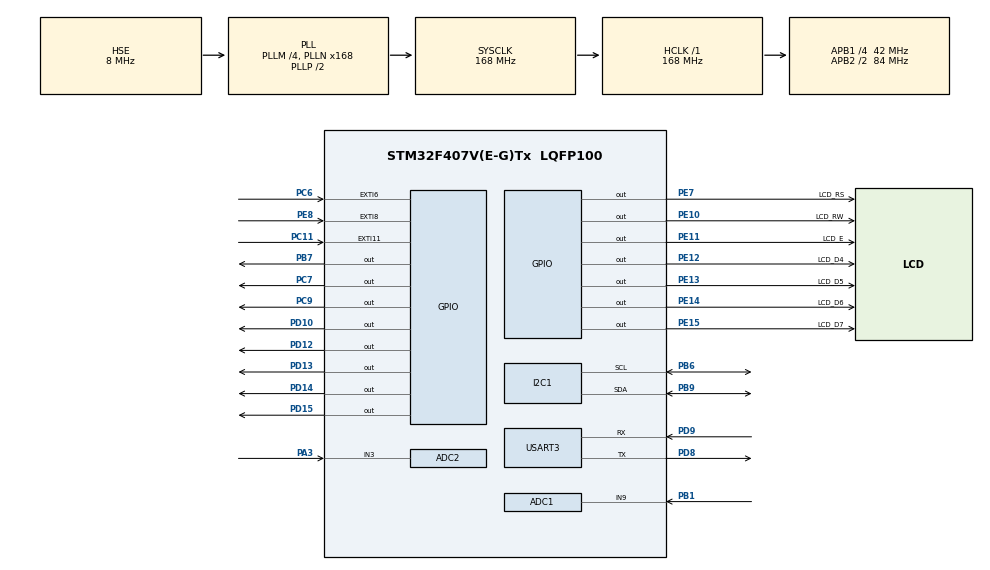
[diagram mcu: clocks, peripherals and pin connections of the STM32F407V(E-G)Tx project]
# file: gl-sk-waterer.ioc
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ADC1.Channel-0\#ChannelRegularConversion=ADC_CHANNEL_9
ADC1.ClockPrescaler=ADC_CLOCK_SYNC_PCLK_DIV8
ADC1.NbrOfConversionFlag=1
ADC1.Rank-0\#ChannelRegularConversion=1
ADC1.SamplingTime-0\#ChannelRegularConversion=ADC_SAMPLETIME_480CYCLES
ADC1.ScanConvMode=DISABLE
ADC1.master=1
ADC2.Channel-1\#ChannelRegularConversion=ADC_CHANNEL_3
ADC2.ClockPrescaler=ADC_CLOCK_SYNC_PCLK_DIV8
ADC2.NbrOfConversionFlag=1
ADC2.Rank-1\#ChannelRegularConversion=1
ADC2.SamplingTime-1\#ChannelRegularConversion=ADC_SAMPLETIME_480CYCLES
Dma.Request0=USART3_RX
Dma.Request1=USART3_TX
Dma.USART3_RX.0.Direction=DMA_PERIPH_TO_MEMORY
Dma.USART3_RX.0.FIFOMode=DMA_FIFOMODE_DISABLE
Dma.USART3_RX.0.Instance=DMA1_Stream1
Dma.USART3_RX.0.MemDataAlignment=DMA_MDATAALIGN_BYTE
Dma.USART3_RX.0.MemInc=DMA_MINC_ENABLE
Dma.USART3_RX.0.Mode=DMA_CIRCULAR
Dma.USART3_RX.0.PeriphDataAlignment=DMA_PDATAALIGN_BYTE
Dma.USART3_RX.0.PeriphInc=DMA_PINC_DISABLE
Dma.USART3_RX.0.Priority=DMA_PRIORITY_LOW
Dma.USART3_TX.1.Direction=DMA_MEMORY_TO_PERIPH
Dma.USART3_TX.1.FIFOMode=DMA_FIFOMODE_DISABLE
Dma.USART3_TX.1.Instance=DMA1_Stream3
Dma.USART3_TX.1.MemDataAlignment=DMA_MDATAALIGN_BYTE
Dma.USART3_TX.1.MemInc=DMA_MINC_ENABLE
Dma.USART3_TX.1.Mode=DMA_NORMAL
Dma.USART3_TX.1.PeriphDataAlignment=DMA_PDATAALIGN_BYTE
Dma.USART3_TX.1.PeriphInc=DMA_PINC_DISABLE
Dma.USART3_TX.1.Priority=DMA_PRIORITY_LOW
FREERTOS.BinarySemaphores01=mBinSemDozeWater,Static,mBinSemDozeWaterControlBlock
FREERTOS.Queues01=myQueueCmds,128,uint8_t,0,Dynamic,NULL,NULL;myQueueDozeWater,1,int8_t,0,Dynamic,NULL,NULL;myQueueMsg,16,uint32_t,0,Dynamic,NULL,NULL
FREERTOS.Tasks01=defaultTask,0,228,StartDefaultTask,Default,NULL,Dynamic,NULL,NULL;myTaskLeds,0,128,StartTaskLeds,Default,NULL,Dynamic,NULL,NULL;myTaskCmds,0,128,StartTaskCmds,Default,NULL,Dynamic,NULL,NULL;myTaskUart,0,1128,StartTaskUart,Default,NULL,Dynamic,NULL,NULL;myTaskAdc,0,128,StartTaskAdc,Default,NULL,Dynamic,NULL,NULL
FREERTOS.Timers01=myTimerPump,CallbackPump,osTimerOnce,Default,NULL,Dynamic,NULL
FREERTOS.configTOTAL_HEAP_SIZE=91536
FREERTOS.configUSE_TIMERS=1
Mcu.Family=STM32F4
Mcu.Name=STM32F407V(E-G)Tx
Mcu.Package=LQFP100
NVIC.DMA1_Stream1_IRQn=true\:5\:0\:false\:false\:true\:true\:false\:true
NVIC.DMA1_Stream3_IRQn=true\:5\:0\:false\:false\:true\:true\:false\:true
NVIC.EXTI15_10_IRQn=true\:5\:0\:false\:false\:true\:true\:true\:true
NVIC.EXTI9_5_IRQn=true\:5\:0\:false\:false\:true\:true\:true\:true
NVIC.PriorityGroup=NVIC_PRIORITYGROUP_4
NVIC.TIM6_DAC_IRQn=true\:0\:0\:false\:false\:true\:false\:false\:true
NVIC.TimeBase=TIM6_DAC_IRQn
NVIC.TimeBaseIP=TIM6
NVIC.USART3_IRQn=true\:5\:0\:false\:false\:true\:true\:true\:true
PA13.Mode=Serial_Wire
PA13.Signal=SYS_JTMS-SWDIO
PA14.Mode=Serial_Wire
PA14.Signal=SYS_JTCK-SWCLK
PA3.Signal=ADCx_IN3
PB1.Signal=ADCx_IN9
PB6.Mode=I2C
PB6.Signal=I2C1_SCL
PB7.Signal=GPIO_Output
PB9.Mode=I2C
PB9.Signal=I2C1_SDA
PC11.GPIO_ModeDefaultEXTI=GPIO_MODE_IT_RISING_FALLING
PC11.GPIO_PuPd=GPIO_PULLUP
PC11.Signal=GPXTI11
PC6.GPIO_ModeDefaultEXTI=GPIO_MODE_IT_FALLING
PC6.GPIO_PuPd=GPIO_PULLUP
PC6.Signal=GPXTI6
PC7.PinState=GPIO_PIN_SET
PC7.Signal=GPIO_Output
PC9.Signal=GPIO_Output
PD10.PinState=GPIO_PIN_SET
PD10.Signal=GPIO_Output
PD12.Signal=GPIO_Output
PD13.Signal=GPIO_Output
PD14.Signal=GPIO_Output
PD15.Signal=GPIO_Output
PD8.Mode=Asynchronous
PD8.Signal=USART3_TX
PD9.Mode=Asynchronous
PD9.Signal=USART3_RX
PE10.GPIO_Label=LCD_RW
PE10.GPIO_PuPd=GPIO_PULLDOWN
PE10.Signal=GPIO_Output
PE11.GPIO_Label=LCD_E
PE11.Signal=GPIO_Output
PE12.GPIO_Label=LCD_D4
PE12.Signal=GPIO_Output
PE13.GPIO_Label=LCD_D5
PE13.Signal=GPIO_Output
PE14.GPIO_Label=LCD_D6
PE14.Signal=GPIO_Output
PE15.GPIO_Label=LCD_D7
PE15.Signal=GPIO_Output
PE7.GPIO_Label=LCD_RS
PE7.PinState=GPIO_PIN_RESET
PE7.Signal=GPIO_Output
PE8.GPIO_ModeDefaultEXTI=GPIO_MODE_IT_RISING_FALLING
PE8.Signal=GPXTI8
PH0-OSC_IN.Mode=HSE-External-Oscillator
PH0-OSC_IN.Signal=RCC_OSC_IN
PH1-OSC_OUT.Mode=HSE-External-Oscillator
PH1-OSC_OUT.Signal=RCC_OSC_OUT
ProjectManager.HeapSize=0x200
ProjectManager.StackSize=0x400
ProjectManager.TargetToolchain=SW4STM32
RCC.48MHZClocksFreq_Value=48000000
RCC.AHBFreq_Value=168000000
RCC.APB1CLKDivider=RCC_HCLK_DIV4
RCC.APB1Freq_Value=42000000
RCC.APB1TimFreq_Value=84000000
RCC.APB2CLKDivider=RCC_HCLK_DIV2
RCC.APB2Freq_Value=84000000
RCC.APB2TimFreq_Value=168000000
RCC.CortexFreq_Value=168000000
RCC.HCLKFreq_Value=168000000
RCC.HSE_VALUE=8000000
RCC.HSI_VALUE=16000000
RCC.LSE_VALUE=32768
RCC.PLLM=4
RCC.PLLN=168
RCC.PLLQ=7
RCC.PLLSourceVirtual=RCC_PLLSOURCE_HSE
RCC.SYSCLKFreq_VALUE=168000000
RCC.SYSCLKSource=RCC_SYSCLKSOURCE_PLLCLK
RCC.VCOOutputFreq_Value=336000000
SH.ADCx_IN3.0=ADC2_IN3,IN3
SH.ADCx_IN9.0=ADC1_IN9,IN9
USART3.VirtualMode=VM_ASYNC
VP_FREERTOS_VS_CMSIS_V1.Mode=CMSIS_V1
VP_SYS_VS_tim6.Mode=TIM6
board=STM32F4DISCOVERY

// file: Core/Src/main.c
/* USER CODE BEGIN Header */
/**
  ******************************************************************************
  * @file           : main.c
  * @brief          : Main program body
  ******************************************************************************
  * @attention
  *
  * <h2><center>&copy; Copyright (c) 2019 STMicroelectronics.
  * All rights reserved.</center></h2>
  *
  * This software component is licensed by ST under Ultimate Liberty license
  * SLA0044, the "License"; You may not use this file except in compliance with
  * the License. You may obtain a copy of the License at:
  *                             www.st.com/SLA0044
  *
  ******************************************************************************
  */
/* USER CODE END Header */

#include "main.h"
#include "cmsis_os.h"

/* USER CODE BEGIN Includes */
#include <string.h>
#include <stdio.h>
#include "hd44780_driver.h"
#include "pca9685.h"
#include "jsmn.h"
#include "ringbuffer_dma.h"
#include "StatusToShow.h"
/* USER CODE END Includes */

/* USER CODE BEGIN PD */
#define I2C_GPIO_ADDR	0x80
/* USER CODE END PD */

ADC_HandleTypeDef hadc1;
ADC_HandleTypeDef hadc2;

I2C_HandleTypeDef hi2c1;

UART_HandleTypeDef huart3;
DMA_HandleTypeDef hdma_usart3_rx;
DMA_HandleTypeDef hdma_usart3_tx;

osThreadId defaultTaskHandle;
osThreadId myTaskLedsHandle;
osThreadId myTaskCmdsHandle;
osThreadId myTaskUartHandle;
osThreadId myTaskAdcHandle;
osMessageQId myQueueCmdsHandle;
osMessageQId myQueueDozeWaterHandle;
osMessageQId myQueueMsgHandle;
osTimerId myTimerPumpHandle;
osMutexId myMutex01Handle;
osSemaphoreId mBinSemDozeWaterHandle;
osStaticSemaphoreDef_t mBinSemDozeWaterControlBlock;

void SystemClock_Config(void);
static void MX_GPIO_Init(void);
static void MX_DMA_Init(void);
static void MX_ADC1_Init(void);
static void MX_USART3_UART_Init(void);
static void MX_I2C1_Init(void);
static void MX_ADC2_Init(void);
void StartDefaultTask(void const * argument);
void StartTaskLeds(void const * argument);
void StartTaskCmds(void const * argument);
void StartTaskUart(void const * argument);
void StartTaskAdc(void const * argument);
void CallbackPump(void const * argument);

int main(void)
{

  /* MCU Configuration--------------------------------------------------------*/

  /* Reset of all peripherals, Initializes the Flash interface and the Systick. */
  HAL_Init();

  /* Configure the system clock */
  SystemClock_Config();

  /* Initialize all configured peripherals */
  MX_GPIO_Init();
  MX_DMA_Init();
  MX_ADC1_Init();
  MX_USART3_UART_Init();
  MX_I2C1_Init();
  MX_ADC2_Init();
  /* USER CODE BEGIN 2 */
  pca9685_init(&hi2c1, I2C_GPIO_ADDR);
  pca9685_pwm(&hi2c1, I2C_GPIO_ADDR, 1, 0, 0);
  /* USER CODE END 2 */

  /* Create the mutex(es) */
  /* definition and creation of myMutex01 */
  osMutexDef(myMutex01);
  myMutex01Handle = osMutexCreate(osMutex(myMutex01));

  /* USER CODE BEGIN RTOS_MUTEX */
  /* add mutexes, ... */
  InitStatusToShow();
  /* USER CODE END RTOS_MUTEX */

  /* Create the semaphores(s) */
  /* definition and creation of mBinSemDozeWater */
  osSemaphoreStaticDef(mBinSemDozeWater, &mBinSemDozeWaterControlBlock);
  mBinSemDozeWaterHandle = osSemaphoreCreate(osSemaphore(mBinSemDozeWater), 1);

  /* Create the timer(s) */
  /* definition and creation of myTimerPump */
  osTimerDef(myTimerPump, CallbackPump);
  myTimerPumpHandle = osTimerCreate(osTimer(myTimerPump), osTimerOnce, NULL);

  /* Create the queue(s) */
  /* definition and creation of myQueueCmds */
  osMessageQDef(myQueueCmds, 128, uint8_t);
  myQueueCmdsHandle = osMessageCreate(osMessageQ(myQueueCmds), NULL);

  /* definition and creation of myQueueDozeWater */
  osMessageQDef(myQueueDozeWater, 1, int8_t);
  myQueueDozeWaterHandle = osMessageCreate(osMessageQ(myQueueDozeWater), NULL);

  /* definition and creation of myQueueMsg */
  osMessageQDef(myQueueMsg, 16, uint32_t);
  myQueueMsgHandle = osMessageCreate(osMessageQ(myQueueMsg), NULL);

  /* Create the thread(s) */
  /* definition and creation of defaultTask */
  osThreadDef(defaultTask, StartDefaultTask, osPriorityNormal, 0, 228);
  defaultTaskHandle = osThreadCreate(osThread(defaultTask), NULL);

  /* definition and creation of myTaskLeds */
  osThreadDef(myTaskLeds, StartTaskLeds, osPriorityNormal, 0, 128);
  myTaskLedsHandle = osThreadCreate(osThread(myTaskLeds), NULL);

  /* definition and creation of myTaskCmds */
  osThreadDef(myTaskCmds, StartTaskCmds, osPriorityNormal, 0, 128);
  myTaskCmdsHandle = osThreadCreate(osThread(myTaskCmds), NULL);

  /* definition and creation of myTaskUart */
  osThreadDef(myTaskUart, StartTaskUart, osPriorityNormal, 0, 1128);
  myTaskUartHandle = osThreadCreate(osThread(myTaskUart), NULL);

  /* definition and creation of myTaskAdc */
  osThreadDef(myTaskAdc, StartTaskAdc, osPriorityNormal, 0, 128);
  myTaskAdcHandle = osThreadCreate(osThread(myTaskAdc), NULL);

  /* Start scheduler */
  osKernelStart();

  /* We should never get here as control is now taken by the scheduler */

  /* Infinite loop */
  while (1)
  {

  }
}

void SystemClock_Config(void)
{
  RCC_OscInitTypeDef RCC_OscInitStruct = {0};
  RCC_ClkInitTypeDef RCC_ClkInitStruct = {0};

  /** Configure the main internal regulator output voltage
  */
  __HAL_RCC_PWR_CLK_ENABLE();
  __HAL_PWR_VOLTAGESCALING_CONFIG(PWR_REGULATOR_VOLTAGE_SCALE1);
  /** Initializes the CPU, AHB and APB busses clocks
  */
  RCC_OscInitStruct.OscillatorType = RCC_OSCILLATORTYPE_HSE;
  RCC_OscInitStruct.HSEState = RCC_HSE_ON;
  RCC_OscInitStruct.PLL.PLLState = RCC_PLL_ON;
  RCC_OscInitStruct.PLL.PLLSource = RCC_PLLSOURCE_HSE;
  RCC_OscInitStruct.PLL.PLLM = 4;
  RCC_OscInitStruct.PLL.PLLN = 168;
  RCC_OscInitStruct.PLL.PLLP = RCC_PLLP_DIV2;
  RCC_OscInitStruct.PLL.PLLQ = 7;
  if (HAL_RCC_OscConfig(&RCC_OscInitStruct) != HAL_OK)
  {
    Error_Handler();
  }
  /** Initializes the CPU, AHB and APB busses clocks
  */
  RCC_ClkInitStruct.ClockType = RCC_CLOCKTYPE_HCLK|RCC_CLOCKTYPE_SYSCLK
                              |RCC_CLOCKTYPE_PCLK1|RCC_CLOCKTYPE_PCLK2;
  RCC_ClkInitStruct.SYSCLKSource = RCC_SYSCLKSOURCE_PLLCLK;
  RCC_ClkInitStruct.AHBCLKDivider = RCC_SYSCLK_DIV1;
  RCC_ClkInitStruct.APB1CLKDivider = RCC_HCLK_DIV4;
  RCC_ClkInitStruct.APB2CLKDivider = RCC_HCLK_DIV2;

  if (HAL_RCC_ClockConfig(&RCC_ClkInitStruct, FLASH_LATENCY_5) != HAL_OK)
  {
    Error_Handler();
  }
}

static void MX_ADC1_Init(void)
{

  ADC_ChannelConfTypeDef sConfig = {0};

  /** Configure the global features of the ADC (Clock, Resolution, Data Alignment and number of conversion)
  */
  hadc1.Instance = ADC1;
  hadc1.Init.ClockPrescaler = ADC_CLOCK_SYNC_PCLK_DIV8;
  hadc1.Init.Resolution = ADC_RESOLUTION_12B;
  hadc1.Init.ScanConvMode = DISABLE;
  hadc1.Init.ContinuousConvMode = DISABLE;
  hadc1.Init.DiscontinuousConvMode = DISABLE;
  hadc1.Init.ExternalTrigConvEdge = ADC_EXTERNALTRIGCONVEDGE_NONE;
  hadc1.Init.ExternalTrigConv = ADC_SOFTWARE_START;
  hadc1.Init.DataAlign = ADC_DATAALIGN_RIGHT;
  hadc1.Init.NbrOfConversion = 1;
  hadc1.Init.DMAContinuousRequests = DISABLE;
  hadc1.Init.EOCSelection = ADC_EOC_SINGLE_CONV;
  if (HAL_ADC_Init(&hadc1) != HAL_OK)
  {
    Error_Handler();
  }
  /** Configure for the selected ADC regular channel its corresponding rank in the sequencer and its sample time.
  */
  sConfig.Channel = ADC_CHANNEL_9;
  sConfig.Rank = 1;
  sConfig.SamplingTime = ADC_SAMPLETIME_480CYCLES;
  if (HAL_ADC_ConfigChannel(&hadc1, &sConfig) != HAL_OK)
  {
    Error_Handler();
  }

}

static void MX_ADC2_Init(void)
{

  ADC_ChannelConfTypeDef sConfig = {0};

  /** Configure the global features of the ADC (Clock, Resolution, Data Alignment and number of conversion)
  */
  hadc2.Instance = ADC2;
  hadc2.Init.ClockPrescaler = ADC_CLOCK_SYNC_PCLK_DIV8;
  hadc2.Init.Resolution = ADC_RESOLUTION_12B;
  hadc2.Init.ScanConvMode = DISABLE;
  hadc2.Init.ContinuousConvMode = DISABLE;
  hadc2.Init.DiscontinuousConvMode = DISABLE;
  hadc2.Init.ExternalTrigConvEdge = ADC_EXTERNALTRIGCONVEDGE_NONE;
  hadc2.Init.ExternalTrigConv = ADC_SOFTWARE_START;
  hadc2.Init.DataAlign = ADC_DATAALIGN_RIGHT;
  hadc2.Init.NbrOfConversion = 1;
  hadc2.Init.DMAContinuousRequests = DISABLE;
  hadc2.Init.EOCSelection = ADC_EOC_SINGLE_CONV;
  if (HAL_ADC_Init(&hadc2) != HAL_OK)
  {
    Error_Handler();
  }
  /** Configure for the selected ADC regular channel its corresponding rank in the sequencer and its sample time.
  */
  sConfig.Channel = ADC_CHANNEL_3;
  sConfig.Rank = 1;
  sConfig.SamplingTime = ADC_SAMPLETIME_480CYCLES;
  if (HAL_ADC_ConfigChannel(&hadc2, &sConfig) != HAL_OK)
  {
    Error_Handler();
  }

}

static void MX_I2C1_Init(void)
{

  hi2c1.Instance = I2C1;
  hi2c1.Init.ClockSpeed = 100000;
  hi2c1.Init.DutyCycle = I2C_DUTYCYCLE_2;
  hi2c1.Init.OwnAddress1 = 0;
  hi2c1.Init.AddressingMode = I2C_ADDRESSINGMODE_7BIT;
  hi2c1.Init.DualAddressMode = I2C_DUALADDRESS_DISABLE;
  hi2c1.Init.OwnAddress2 = 0;
  hi2c1.Init.GeneralCallMode = I2C_GENERALCALL_DISABLE;
  hi2c1.Init.NoStretchMode = I2C_NOSTRETCH_DISABLE;
  if (HAL_I2C_Init(&hi2c1) != HAL_OK)
  {
    Error_Handler();
  }

}

static void MX_USART3_UART_Init(void)
{

  huart3.Instance = USART3;
  huart3.Init.BaudRate = 115200;
  huart3.Init.WordLength = UART_WORDLENGTH_8B;
  huart3.Init.StopBits = UART_STOPBITS_1;
  huart3.Init.Parity = UART_PARITY_NONE;
  huart3.Init.Mode = UART_MODE_TX_RX;
  huart3.Init.HwFlowCtl = UART_HWCONTROL_NONE;
  huart3.Init.OverSampling = UART_OVERSAMPLING_16;
  if (HAL_UART_Init(&huart3) != HAL_OK)
  {
    Error_Handler();
  }

}

static void MX_DMA_Init(void)
{
  /* DMA controller clock enable */
  __HAL_RCC_DMA1_CLK_ENABLE();

  /* DMA interrupt init */
  /* DMA1_Stream1_IRQn interrupt configuration */
  HAL_NVIC_SetPriority(DMA1_Stream1_IRQn, 5, 0);
  HAL_NVIC_EnableIRQ(DMA1_Stream1_IRQn);
  /* DMA1_Stream3_IRQn interrupt configuration */
  HAL_NVIC_SetPriority(DMA1_Stream3_IRQn, 5, 0);
  HAL_NVIC_EnableIRQ(DMA1_Stream3_IRQn);

}

static void MX_GPIO_Init(void)
{
  GPIO_InitTypeDef GPIO_InitStruct = {0};

  /* GPIO Ports Clock Enable */
  __HAL_RCC_GPIOH_CLK_ENABLE();
  __HAL_RCC_GPIOA_CLK_ENABLE();
  __HAL_RCC_GPIOB_CLK_ENABLE();
  __HAL_RCC_GPIOE_CLK_ENABLE();
  __HAL_RCC_GPIOD_CLK_ENABLE();
  __HAL_RCC_GPIOC_CLK_ENABLE();

  /*Configure GPIO pin Output Level */
  HAL_GPIO_WritePin(GPIOE, LCD_RS_Pin|LCD_RW_Pin|LCD_E_Pin|LCD_D4_Pin
                          |LCD_D5_Pin|LCD_D6_Pin|LCD_D7_Pin, GPIO_PIN_RESET);

  /*Configure GPIO pin Output Level */
  HAL_GPIO_WritePin(GPIOD, GPIO_PIN_10, GPIO_PIN_SET);

  /*Configure GPIO pin Output Level */
  HAL_GPIO_WritePin(GPIOD, GPIO_PIN_12|GPIO_PIN_13|GPIO_PIN_14|GPIO_PIN_15, GPIO_PIN_RESET);

  /*Configure GPIO pin Output Level */
  HAL_GPIO_WritePin(GPIOC, GPIO_PIN_7, GPIO_PIN_SET);

  /*Configure GPIO pin Output Level */
  HAL_GPIO_WritePin(GPIOC, GPIO_PIN_9, GPIO_PIN_RESET);

  /*Configure GPIO pin Output Level */
  HAL_GPIO_WritePin(GPIOB, GPIO_PIN_7, GPIO_PIN_RESET);

  /*Configure GPIO pins : LCD_RS_Pin LCD_E_Pin LCD_D4_Pin LCD_D5_Pin
                           LCD_D6_Pin LCD_D7_Pin */
  GPIO_InitStruct.Pin = LCD_RS_Pin|LCD_E_Pin|LCD_D4_Pin|LCD_D5_Pin
                          |LCD_D6_Pin|LCD_D7_Pin;
  GPIO_InitStruct.Mode = GPIO_MODE_OUTPUT_PP;
  GPIO_InitStruct.Pull = GPIO_NOPULL;
  GPIO_InitStruct.Speed = GPIO_SPEED_FREQ_LOW;
  HAL_GPIO_Init(GPIOE, &GPIO_InitStruct);

  /*Configure GPIO pin : PE8 */
  GPIO_InitStruct.Pin = GPIO_PIN_8;
  GPIO_InitStruct.Mode = GPIO_MODE_IT_RISING_FALLING;
  GPIO_InitStruct.Pull = GPIO_NOPULL;
  HAL_GPIO_Init(GPIOE, &GPIO_InitStruct);

  /*Configure GPIO pin : LCD_RW_Pin */
  GPIO_InitStruct.Pin = LCD_RW_Pin;
  GPIO_InitStruct.Mode = GPIO_MODE_OUTPUT_PP;
  GPIO_InitStruct.Pull = GPIO_PULLDOWN;
  GPIO_InitStruct.Speed = GPIO_SPEED_FREQ_LOW;
  HAL_GPIO_Init(LCD_RW_GPIO_Port, &GPIO_InitStruct);

  /*Configure GPIO pins : PD10 PD12 PD13 PD14
                           PD15 */
  GPIO_InitStruct.Pin = GPIO_PIN_10|GPIO_PIN_12|GPIO_PIN_13|GPIO_PIN_14
                          |GPIO_PIN_15;
  GPIO_InitStruct.Mode = GPIO_MODE_OUTPUT_PP;
  GPIO_InitStruct.Pull = GPIO_NOPULL;
  GPIO_InitStruct.Speed = GPIO_SPEED_FREQ_LOW;
  HAL_GPIO_Init(GPIOD, &GPIO_InitStruct);

  /*Configure GPIO pin : PC6 */
  GPIO_InitStruct.Pin = GPIO_PIN_6;
  GPIO_InitStruct.Mode = GPIO_MODE_IT_FALLING;
  GPIO_InitStruct.Pull = GPIO_PULLUP;
  HAL_GPIO_Init(GPIOC, &GPIO_InitStruct);

  /*Configure GPIO pins : PC7 PC9 */
  GPIO_InitStruct.Pin = GPIO_PIN_7|GPIO_PIN_9;
  GPIO_InitStruct.Mode = GPIO_MODE_OUTPUT_PP;
  GPIO_InitStruct.Pull = GPIO_NOPULL;
  GPIO_InitStruct.Speed = GPIO_SPEED_FREQ_LOW;
  HAL_GPIO_Init(GPIOC, &GPIO_InitStruct);

  /*Configure GPIO pin : PC11 */
  GPIO_InitStruct.Pin = GPIO_PIN_11;
  GPIO_InitStruct.Mode = GPIO_MODE_IT_RISING_FALLING;
  GPIO_InitStruct.Pull = GPIO_PULLUP;
  HAL_GPIO_Init(GPIOC, &GPIO_InitStruct);

  /*Configure GPIO pin : PB7 */
  GPIO_InitStruct.Pin = GPIO_PIN_7;
  GPIO_InitStruct.Mode = GPIO_MODE_OUTPUT_PP;
  GPIO_InitStruct.Pull = GPIO_NOPULL;
  GPIO_InitStruct.Speed = GPIO_SPEED_FREQ_LOW;
  HAL_GPIO_Init(GPIOB, &GPIO_InitStruct);

  /* EXTI interrupt init*/
  HAL_NVIC_SetPriority(EXTI9_5_IRQn, 5, 0);
  HAL_NVIC_EnableIRQ(EXTI9_5_IRQn);

  HAL_NVIC_SetPriority(EXTI15_10_IRQn, 5, 0);
  HAL_NVIC_EnableIRQ(EXTI15_10_IRQn);

}

/* USER CODE BEGIN 4 */
static void TurnFanOff(void){
//	HAL_GPIO_WritePin(GPIOC, GPIO_PIN_7, GPIO_PIN_SET);
	pca9685_pwm(&hi2c1, I2C_GPIO_ADDR, 1, 0, 0);
	osMessagePut(myQueueMsgHandle, (uint32_t)"Fan stopped", 1);
//	curStatus.isFanOn = 0;
	SetIsFanOnStatus(0);
}

static void TurnFanOn(void){
//	HAL_GPIO_WritePin(GPIOC, GPIO_PIN_7, GPIO_PIN_RESET);
	pca9685_pwm(&hi2c1, I2C_GPIO_ADDR, 1, 0, 4095);
	osMessagePut(myQueueMsgHandle, (uint32_t)"Fan started", 1);
//	curStatus.isFanOn = 1;
	SetIsFanOnStatus(1);
}

static void TurnPumpOff(void){
	//HAL_GPIO_WritePin(GPIOC, GPIO_PIN_9, GPIO_PIN_RESET);
	pca9685_pwm(&hi2c1, I2C_GPIO_ADDR, 0, 0, 0);
	osMessagePut(myQueueMsgHandle, (uint32_t)"Pump stopped", 1);
//	curStatus.isPumpOn = 0;
	SetIsPumpOnStatus(0);
}

static void TurnPumpOn(void){
	//HAL_GPIO_WritePin(GPIOC, GPIO_PIN_9, GPIO_PIN_SET);
	pca9685_pwm(&hi2c1, I2C_GPIO_ADDR, 0, 0, 4095);
	osMessagePut(myQueueMsgHandle, (uint32_t)"Pump started", 1);
//	curStatus.isPumpOn = 1;
	SetIsPumpOnStatus(1);
}

void DoseWater(void) {
	osStatus res = osMessagePut(myQueueDozeWaterHandle, 1, 1);
	if (res == osOK) {
		osMessagePut(myQueueCmdsHandle, PUMP_ON, 1);
		osTimerStart(myTimerPumpHandle, 50);
	}
}

static uint8_t LRC(const char *data) {
	uint8_t lrc = 0;
	//   for (const byte of data) {
	//     lrc += byte;
	//   }
	while(*data) {
	   lrc += *data++;
	}
	return ((lrc ^ 0xff) + 1) & 0xff;
}

const int8_t SOH = 0x01;
const int8_t STX = 0x02;
const int8_t ETX = 0x03;
const int8_t EOT = 0x04;

static void makePacket(const char *data, uint8_t *buf) {

	const int8_t HEADER_SIZE = 4;
//	const int8_t TRAILER_SIZE = 3;
//	const int8_t OVERHEAD_SIZE = HEADER_SIZE + TRAILER_SIZE;

//	const buf = Buffer.alloc(data.length + OVERHEAD_SIZE);
	buf[0] = SOH;
	buf[1] = strlen(data) & 0xff;
	buf[2] = (strlen(data) >> 8) & 0xff;
	buf[3] = STX;
	int32_t trailer = HEADER_SIZE + strlen(data);
	memcpy((char *)(buf + HEADER_SIZE), data, strlen(data));
	//const trailer = buf.slice(data.length + HEADER_SIZE);
	*(buf + trailer + 0) = ETX;
	*(buf + trailer + 1) = LRC(data);
	*(buf + trailer + 2) = EOT;
//	trailer[1] = Packet.LRC(data);
//	trailer[2] = EOT;
//	return buf;
}

static uint8_t buf[512];
void SendResponse(const char *resp) {
	int msg_size = strlen(resp) + 4 + 3;
//	uint8_t buf[msg_size + 1];
	buf[msg_size] = '\0';
	makePacket(resp, buf);
	HAL_UART_Transmit_DMA(&huart3, buf, msg_size);
//					osMessagePut(myQueueMsgHandle, (uint32_t)"uart", 1);
//	osDelay(30);
}

/* USER CODE END 4 */

void StartDefaultTask(void const * argument)
{

  /* USER CODE BEGIN 5 */
//	osDelay(1000);
//	HAL_GPIO_WritePin(GPIOD, GPIO_PIN_10, GPIO_PIN_SET);
//	osDelay(1000);
//	HAL_GPIO_WritePin(GPIOD, GPIO_PIN_10, GPIO_PIN_RESET);
//	osDelay(1000);
//	HAL_GPIO_WritePin(GPIOD, GPIO_PIN_10, GPIO_PIN_SET);
//	osDelay(1000);

	LcdInit();
	LcdShowMessage("GL Starter Kit");
	osDelay(3000);

  /* Infinite loop */
	for(;;)
	{
		osDelay(100);
		osEvent evt = osMessageGet(myQueueMsgHandle, osWaitForever);
		if (evt.status == osEventMessage) {
//			const char *msg = (const char *)evt.value.p;
//			LcdShowMessage(msg);
			char l1[10] = { 0 };
			char l2[9] = { 0 };
			char l3[9] = { 0 };
			char l4[9] = { 0 };
			struct Status curStatus = GetStatus();
			sprintf(l1, "Temp:%2d", curStatus.temperature);
			sprintf(l2, "Pump:%3s", (curStatus.isPumpOn ? "ON" : "OFF"));
			sprintf(l3, "Fan:%3s", (curStatus.isFanOn ? "ON" : "OFF"));
			sprintf(l4, "Gas:%4ld", curStatus.gas);
			LcdShow4Lines(l1, l2, l3, l4);
			osDelay(300);
		}
	}
  /* USER CODE END 5 */
}

void StartTaskLeds(void const * argument)
{
  /* USER CODE BEGIN StartTaskLeds */
  /* Infinite loop */
	uint32_t dval = 250;
	for(;;)
	{
		HAL_GPIO_TogglePin(GPIOD, GPIO_PIN_12);
		osDelay(dval);
		HAL_GPIO_TogglePin(GPIOD, GPIO_PIN_12);
		HAL_GPIO_TogglePin(GPIOD, GPIO_PIN_13);
		osDelay(dval);
		HAL_GPIO_TogglePin(GPIOD, GPIO_PIN_13);
		HAL_GPIO_TogglePin(GPIOD, GPIO_PIN_14);
		osDelay(dval);
		HAL_GPIO_TogglePin(GPIOD, GPIO_PIN_14);
		HAL_GPIO_TogglePin(GPIOD, GPIO_PIN_15);
		osDelay(dval);
		HAL_GPIO_TogglePin(GPIOD, GPIO_PIN_15);
	}
  /* USER CODE END StartTaskLeds */
}

void StartTaskCmds(void const * argument)
{
  /* USER CODE BEGIN StartTaskCmds */
  /* Infinite loop */
	for(;;)
	{
		osDelay(30);
		osEvent evt = osMessageGet(myQueueCmdsHandle, 1);
		if (evt.status == osEventMessage) {
			enum Cmd cmd = (enum Cmd)evt.value.p;
			switch (cmd){
			case FAN_ON:
				TurnFanOn();
				break;
			case FAN_OFF:
				TurnFanOff();
				break;
			case PUMP_ON:
				TurnPumpOn();
				SendResponse("{\"messageType\":\"propertyChanged\",\"data\":{\"id\":\"GL-StarterKit-pump-1\",\"name\":\"on\",\"value\":true}}");
				break;
			case PUMP_OFF:
				TurnPumpOff();
				SendResponse("{\"messageType\":\"propertyChanged\",\"data\":{\"id\":\"GL-StarterKit-pump-1\",\"name\":\"on\",\"value\":false}}");
				break;
			case DOSE_WATER:
				DoseWater();
				break;
			default:
				osMessagePut(myQueueMsgHandle, (uint32_t)"Wrong command", 1);
				break;
			}
		}
	}
  /* USER CODE END StartTaskCmds */
}

void StartTaskUart(void const * argument)
{
  /* USER CODE BEGIN StartTaskUart */
	RingBuffer_DMA rba;
	uint8_t dma_buffer[512];
	RingBuffer_DMA_Init(&rba, huart3.hdmarx, dma_buffer, sizeof(dma_buffer));
	HAL_UART_Receive_DMA(&huart3, dma_buffer, sizeof(dma_buffer));
  /* Infinite loop */
  for(;;)
	{
		osDelay(2);
//		uint8_t cmd = 0;
//		HAL_StatusTypeDef res = HAL_UART_Receive(&huart3, &cmd, 1, 10);
//		if (res == HAL_OK) {
//			osMessagePut(myQueueCmdsHandle, cmd, 1);
//		}
		int avail = RingBuffer_DMA_Count(&rba);
		if (avail) {
			uint8_t b = RingBuffer_DMA_GetByte(&rba);
			if (b == SOH) {
				avail = RingBuffer_DMA_Count(&rba);
				while (avail < 3) {
					osDelay(2);
					avail = RingBuffer_DMA_Count(&rba);
				}
				uint8_t bs[3];
				for(int i = 0; i < 3; ++i)
					bs[i] = RingBuffer_DMA_GetByte(&rba);

				uint32_t len = 0;
				len = bs[0] + bs[1]*256;

				avail = RingBuffer_DMA_Count(&rba);
				while (avail < len + 3 - 1) {
					osDelay(2);
					avail = RingBuffer_DMA_Count(&rba);
				}

				uint8_t json[len +1];
				json[len] = 0;
				for(int i = 0; i < len; ++i)
					json[i] = RingBuffer_DMA_GetByte(&rba);

				if (strcmp((char *)json, "{\"messageType\":\"getAdapter\",\"data\":{}}") == 0) {
					const char *resp = "{\"messageType\":\"adapter\",\"data\":{\"id\":\"GL-StarterKit\",\"name\":\"GL-StarterKit\",\"thingCount\":1}}";
					SendResponse(resp);
					osMessagePut(myQueueMsgHandle, (uint32_t)"getAdatper", 1);
				}
				if (strcmp((char *)json, "{\"messageType\":\"getThingByIdx\",\"data\":{\"thingIdx\":0}}") == 0) {
					const char *resp = "{\"messageType\":\"thing\",\"data\":{\"id\":\"GL-StarterKit-pump-1\",\"name\":\"pump\",\"type\":\"onOffSwitch\",\"description\":\"GL-StarterKit Water Pump\",\"propertyCount\":1}}";
					SendResponse(resp);
					osMessagePut(myQueueMsgHandle, (uint32_t)"things", 1);
				}
				if (strcmp((char *)json, "{\"messageType\":\"getPropertyByIdx\",\"data\":{\"thingIdx\":0,\"propertyIdx\":0}}") == 0) {
					const char *resp = "{\"messageType\":\"property\",\"data\":{\"name\":\"on\",\"type\":\"boolean\",\"value\":false}}";
					SendResponse(resp);
					osMessagePut(myQueueMsgHandle, (uint32_t)"property", 1);
				}
				if (strcmp((char *)json, "{\"messageType\":\"setProperty\",\"data\":{\"id\":\"GL-StarterKit-pump-1\",\"name\":\"on\",\"value\":\"true\"}}") == 0) {
					const char *resp = "{\"messageType\":\"propertyChanged\",\"data\":{\"id\":\"GL-StarterKit-pump-1\",\"name\":\"on\",\"value\":true}}";
					SendResponse(resp);
					osMessagePut(myQueueMsgHandle, (uint32_t)"setProp", 1);
				}
				if (strcmp((char *)json, "{\"messageType\":\"setProperty\",\"data\":{\"name\":\"on\",\"value\":true,\"id\":\"GL-StarterKit-pump-1\"}}") == 0) {
					const char *resp = "{\"messageType\":\"propertyChanged\",\"data\":{\"id\":\"GL-StarterKit-pump-1\",\"name\":\"on\",\"value\":true}}";
					SendResponse(resp);
					DoseWater();
				}
				if (strcmp((char *)json, "{\"messageType\":\"setProperty\",\"data\":{\"name\":\"on\",\"value\":false,\"id\":\"GL-StarterKit-pump-1\"}}") == 0) {
					const char *resp = "{\"messageType\":\"propertyChanged\",\"data\":{\"id\":\"GL-StarterKit-pump-1\",\"name\":\"on\",\"value\":false}}";
					SendResponse(resp);
					osMessagePut(myQueueCmdsHandle, PUMP_OFF, 1);
				}
//				if (strcmp((char *)json, "") == 0) {
//					const char *resp = "";
//					SendResponse(resp);
//				}

			}

		}

		continue;

	}
  /* USER CODE END StartTaskUart */
}

void StartTaskAdc(void const * argument)
{
  /* USER CODE BEGIN StartTaskAdc */
  /* Infinite loop */
	int8_t isFanOn = 0;
	for(;;)
	{
		osDelay(3000);
		HAL_ADC_Start(&hadc1);
		HAL_ADC_PollForConversion(&hadc1, 1000);
		uint32_t temperatureRaw = HAL_ADC_GetValue(&hadc1);
		HAL_ADC_Stop(&hadc1);
//		static char buf[100];
//		sprintf(buf, "%ld", value);
//		osMessagePut(myQueueMsgHandle, (uint32_t)buf, 1);
		double voltage = 3.3 * temperatureRaw / 4095;
		double temperature = (2.5 - voltage) * 50 - 25;
		SetTemperatureStatus(temperature);
		if (temperature <= 30 && isFanOn) {
			osMessagePut(myQueueCmdsHandle, FAN_OFF, 1);
			isFanOn = 0;
		}
		else if (temperature > 30 && !isFanOn) {
			osMessagePut(myQueueCmdsHandle, FAN_ON, 1);
			isFanOn = 1;
		}

//		if (0) { DMA!!!!!
//			uint8_t buf[100] = { 0 };
//			sprintf((char *)buf, "value=%lu\n", value);
//			HAL_UART_Transmit(&huart3, buf, strlen((char *)buf), 1000);
//		}

		HAL_ADC_Start(&hadc2);
		HAL_ADC_PollForConversion(&hadc2, 1000);
		uint32_t pollution = HAL_ADC_GetValue(&hadc2);
		HAL_ADC_Stop(&hadc2);
		static char buf[100];
		sprintf(buf, "%ld", pollution);
//		curStatus.gas = pollution;
		SetPollutionStatus(pollution);
		osMessagePut(myQueueMsgHandle, (uint32_t)buf, 1);
	}
  /* USER CODE END StartTaskAdc */
}

/* CallbackPump function */
void CallbackPump(void const * argument)
{
  /* USER CODE BEGIN CallbackPump */
	//osTimerStop(myTimerPumpHandle);
	osDelay(3000);
	osMessageGet(myQueueDozeWaterHandle, 100);
	osMessagePut(myQueueCmdsHandle, PUMP_OFF, 1);
  /* USER CODE END CallbackPump */
}

void HAL_TIM_PeriodElapsedCallback(TIM_HandleTypeDef *htim)
{
  if (htim->Instance == TIM6) {
    HAL_IncTick();
  }
}

void Error_Handler(void)
{
}

/************************ (C) COPYRIGHT STMicroelectronics *****END OF FILE****/
